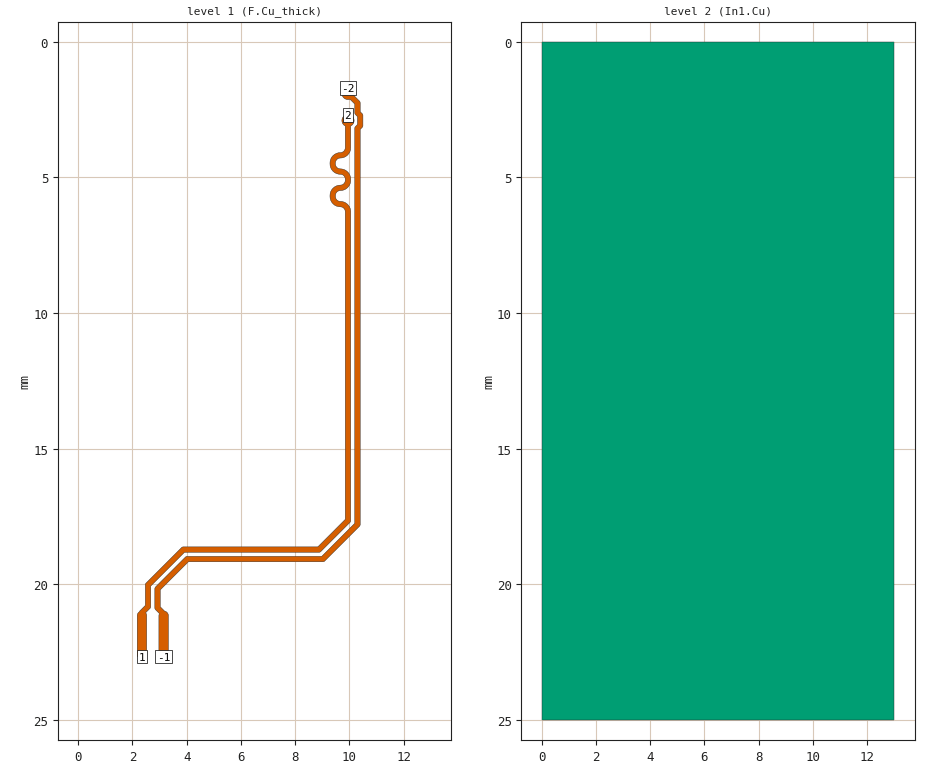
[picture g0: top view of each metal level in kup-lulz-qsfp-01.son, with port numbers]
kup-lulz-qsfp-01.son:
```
FTYP SONPROJ 19 ! Sonnet Project File
VER 18.56
HEADER
LIC antikernel2.1.52448
DAT 02/23/2024 02:04:42
BUILT_BY_CREATED dxf 18.56 02/22/2024 23:40:04
BUILT_BY_SAVED sonnet 18.56
MDATE 02/23/2024 02:04:42
HDATE 02/23/2024 02:04:42
ANN Created by dxfgeo, Sonnet Software Inc.
END HEADER
DIM
ANG DEG
CAP PF
CON /OH
FREQ GHZ
IND NH
LNG MM
RES OH
END DIM
CONTROL
VARSWP
OPTIONS  -dj
SPEED 1
CACHE_ABS 2
Q_ACC N
END CONTROL
GEO
TMET "Free Space" 0 FREESPACE 376.7303136 0 0 0
BMET "Free Space" 0 FREESPACE 376.7303136 0 0 0
MET "Copper_1oz+plated_thick_up" 1 TMM 58000000 0.5 0.0432 2
MET "Copper_1oz+plated_thin" 4 NOR 58000000 0.5 0.0432 
MET "Copper_0.5oz_thin" 2 NOR 58000000 0.5 0.0175 
MET "Copper_1oz+plated_thick_down" 3 TMM 58000000 0.5 0.0432 2 CDVY TDWN
BOX 6 13 25 1040 2000 20 0
      10 1 1 0 0 0 0 "Air"
      0.05 3.5 1 0.02 0 0 0 "Soldermask"
      0.2021 3.61 1 0.0092 0 0 0 "Isola_FR408HR"
      1.1938 3.61 1 0.0092 0 0 0 "Isola_FR408HR"
      0.2021 3.61 1 0.0092 0 0 0 "Isola_FR408HR"
      0.05 3.5 1 0.02 0 0 0 "Soldermask"
      10 1 1 0 0 0 0 "Air"
TECHLAY METAL F.Cu_thick L1D0 -1 -65534 CAD F.Cu drawing 
1 0 0 N 1844 1 1 100 100 0 0 0 Y
END
END
TECHLAY VIA Via1 L5D0 -7 -65534 CAD Via1 drawing 
VIA POLYGON
1 0 -1 N 2163 1 1 100 100 0 0 0 Y
TOLEVEL 4 RING NOCOVERS
END
END
TECHLAY METAL F.Cu_thin <UNSPECIFIED> -2 -65534 CAD F.Cu_thin drawing 
1 0 1 N 1848 1 1 100 100 0 0 0 Y
END
END
TECHLAY METAL In1.Cu L2D0 -3 -65534 CAD In1.Cu drawing 
2 0 2 N 1851 1 1 100 100 0 0 0 Y
END
END
TECHLAY METAL In2.Cu L3D0 -4 -65534 CAD In2.Cu drawing 
3 0 2 N 1854 1 1 100 100 0 0 0 Y
END
END
TECHLAY METAL B.Cu_thick L4D0 -5 -65534 CAD B.Cu drawing 
4 0 3 N 1857 1 1 100 100 0 0 0 Y
END
END
TECHLAY METAL B.Cu_thin <UNSPECIFIED> -6 -65534 CAD B.Cu_thin drawing 
4 0 1 N 1859 1 1 100 100 0 0 0 Y
END
END
LORGN 0 25 U 
POR1 CUP Auto
GNDREF AUTO
TERMW FEED
POLY 2090 1
157
-1 100 0 0 0 3.15 22.675 
CUPGRP "Auto" LOCAL
ID 2159
END
POR1 CUP Auto
GNDREF AUTO
TERMW FEED
POLY 2090 1
72
-2 100 0 0 0 9.95 1.7 
CUPGRP "Auto" LOCAL
ID 2160
END
POR1 CUP Auto
GNDREF AUTO
TERMW FEED
POLY 2091 1
545
1 100 0 0 0 2.35 22.675 
CUPGRP "Auto" LOCAL
ID 2161
END
POR1 CUP Auto
GNDREF AUTO
TERMW FEED
POLY 2091 1
293
2 100 0 0 0 9.95 2.7 
CUPGRP "Auto" LOCAL
ID 2162
END
NUM 3
1 160 0 N 2090 1 1 100 100 0 0 0 Y
TLAYNAM F.Cu_thick INH
3.322 22.6495
3.325 22.6155
3.325 21.1655
3.322 21.1315
3.312 21.0985
3.296 21.0685
3.274 21.0415
3.247 21.0195
3.217 21.0035
3.184 20.9935
3.025 20.8345
3.025 20.2135
4.064 19.1755
9.027 19.1755
9.037 19.1745
9.046 19.1725
9.056 19.1695
9.065 19.1665
9.073 19.1615
9.082 19.1555
9.089 19.1495
10.374 17.8655
10.38 17.8575
10.386 17.8485
10.391 17.8405
10.397 17.8225
10.399 17.8125
10.4 17.8025
10.4 3.2275
10.474 3.1535
10.48 3.1465
10.486 3.1375
10.491 3.1295
10.494 3.1205
10.497 3.1105
10.499 3.1015
10.5 3.0915
10.5 2.7085
10.499 2.6995
10.497 2.6895
10.494 2.6795
10.491 2.6705
10.486 2.6625
10.48 2.6545
10.474 2.6475
10.474 2.6465
10.467 2.6395
10.46 2.6335
10.4 2.5735
10.4 2.2455
10.399 2.2355
10.397 2.2265
10.394 2.2165
10.391 2.2075
10.386 2.1995
10.38 2.1905
10.374 2.1835
10.163 1.9725
10.168 1.9555
10.173 1.9335
10.175 1.9115
10.175 1.8895
10.173 1.8675
10.168 1.8455
10.162 1.8245
10.153 1.8045
10.143 1.7845
10.131 1.7665
10.117 1.7495
10.101 1.7335
10.084 1.7195
10.066 1.7075
10.051 1.7
9.849 1.7
9.834 1.7075
9.816 1.7195
9.799 1.7335
9.783 1.7495
9.769 1.7665
9.757 1.7845
9.747 1.8045
9.738 1.8245
9.732 1.8455
9.727 1.8675
9.725 1.8895
9.725 1.9115
9.727 1.9335
9.732 1.9555
9.738 1.9765
9.747 1.9965
9.757 2.0165
9.769 2.0345
9.783 2.0515
9.799 2.0675
9.816 2.0815
9.834 2.0935
9.854 2.1035
9.874 2.1125
9.895 2.1185
9.917 2.1235
9.939 2.1255
9.961 2.1255
9.983 2.1235
10.005 2.1185
10.022 2.1135
10.2 2.2915
10.2 2.6195
10.201 2.6295
10.203 2.6385
10.206 2.6485
10.209 2.6575
10.214 2.6655
10.22 2.6745
10.226 2.6815
10.3 2.7555
10.3 3.0455
10.226 3.1195
10.22 3.1265
10.214 3.1345
10.209 3.1435
10.206 3.1525
10.203 3.1625
10.201 3.1715
10.2 3.1815
10.2 17.7555
8.981 18.9755
4.008 18.9755
3.998 18.9775
3.989 18.9805
3.988 18.9815
3.983 18.9835
3.98 18.9845
3.979 18.9845
3.963 18.9945
3.955 19.0005
2.851 20.1055
2.845 20.1125
2.839 20.1215
2.834 20.1295
2.831 20.1385
2.828 20.1485
2.826 20.1575
2.825 20.1675
2.825 20.8805
2.826 20.8905
2.828 20.8995
2.831 20.9095
2.834 20.9185
2.839 20.9265
2.845 20.9355
2.851 20.9425
2.995 21.0865
2.988 21.0985
2.978 21.1315
2.975 21.1655
2.975 22.6155
2.978 22.6495
2.985727273 22.675
3.314272727 22.675
3.322 22.6495
END
1 548 0 N 2091 1 1 100 100 0 0 0 Y
TLAYNAM F.Cu_thick INH
2.522 22.6495
2.525 22.6155
2.525 21.1655
2.522 21.1315
2.512 21.0985
2.496 21.0685
2.486 21.0555
2.649 20.8925
2.655 20.8855
2.661 20.8765
2.666 20.8685
2.669 20.8595
2.672 20.8495
2.674 20.8405
2.675 20.8305
2.675 20.0695
3.92 18.8255
8.883 18.8255
8.893 18.8245
8.902 18.8225
8.912 18.8195
8.921 18.8165
8.929 18.8115
8.938 18.8055
8.945 18.7995
10.025 17.7205
10.031 17.7125
10.041 17.6965
10.041 17.6955
10.042 17.6925
10.044 17.6875
10.045 17.6865
10.048 17.6775
10.05 17.6675
10.05 6.2605
10.045 6.2015
10.044 6.1995
10.044 6.1945
10.043 6.1925
10.041 6.1825
10.04 6.1805
10.031 6.1495
10.029 6.1395
10.028 6.1375
10.028 6.1365
10.025 6.1285
10.021 6.1195
10.019 6.1165
10.006 6.0885
10.002 6.0795
10.001 6.0765
9.996 6.0685
9.99 6.0605
9.971 6.0335
9.97 6.0315
9.964 6.0235
9.962 6.0215
9.958 6.0165
9.957 6.0145
9.95 6.0075
9.942 6.0015
9.931 5.9905
9.925 5.9835
9.911 5.9695
9.909 5.9685
9.9 5.9625
9.872 5.9425
9.871 5.9415
9.864 5.9365
9.86 5.9345
9.855 5.9315
9.854 5.9305
9.845 5.9265
9.843 5.9265
9.802 5.9065
9.793 5.9035
9.785 5.9025
9.759 5.8955
9.752 5.8935
9.75 5.8925
9.74 5.8895
9.731 5.8875
9.683 5.8835
9.674 5.8825
9.672 5.8825
9.631 5.8785
9.599 5.8695
9.564 5.8495
9.541 5.8315
9.518 5.8035
9.499 5.7695
9.49 5.7375
9.486 5.6965
9.486 5.6685
9.49 5.6275
9.499 5.5975
9.519 5.5615
9.537 5.5385
9.565 5.5155
9.599 5.4965
9.636 5.4855
9.672 5.4825
9.674 5.4825
9.683 5.4815
9.718 5.4785
9.731 5.4775
9.733 5.4765
9.738 5.4765
9.74 5.4755
9.75 5.4735
9.752 5.4725
9.783 5.4635
9.793 5.4615
9.795 5.4605
9.796 5.4605
9.804 5.4575
9.813 5.4535
9.816 5.4515
9.844 5.4385
9.853 5.4345
9.856 5.4335
9.864 5.4285
9.872 5.4225
9.899 5.4035
9.901 5.4025
9.909 5.3965
9.911 5.3945
9.916 5.3905
9.918 5.3895
9.925 5.3825
9.928 5.3785
9.963 5.3435
9.964 5.3415
9.97 5.3325
9.988 5.3075
9.99 5.3055
9.996 5.2975
10.001 5.2885
10.003 5.2845
10.006 5.2775
10.021 5.2455
10.026 5.2355
10.028 5.2305
10.029 5.2275
10.044 5.1705
10.044 5.1655
10.045 5.1635
10.045 5.1605
10.046 5.1515
10.049 5.1155
10.049 5.1115
10.05 5.1055
10.05 5.0605
10.045 5.0015
10.044 4.9995
10.044 4.9945
10.043 4.9925
10.041 4.9825
10.04 4.9805
10.031 4.9495
10.029 4.9395
10.028 4.9375
10.028 4.9365
10.025 4.9285
10.021 4.9195
10.019 4.9165
10.006 4.8885
10.002 4.8795
10.001 4.8765
9.996 4.8685
9.99 4.8605
9.971 4.8335
9.97 4.8315
9.964 4.8235
9.962 4.8215
9.958 4.8165
9.957 4.8145
9.95 4.8075
9.942 4.8015
9.931 4.7905
9.925 4.7835
9.911 4.7695
9.909 4.7685
9.9 4.7625
9.872 4.7425
9.871 4.7415
9.864 4.7365
9.86 4.7345
9.855 4.7315
9.854 4.7305
9.845 4.7265
9.843 4.7265
9.802 4.7065
9.793 4.7035
9.785 4.7025
9.759 4.6955
9.752 4.6935
9.75 4.6925
9.74 4.6895
9.731 4.6875
9.683 4.6835
9.674 4.6825
9.672 4.6825
9.631 4.6785
9.599 4.6695
9.564 4.6495
9.541 4.6315
9.518 4.6035
9.499 4.5695
9.49 4.5375
9.486 4.4965
9.486 4.4685
9.49 4.4275
9.499 4.3975
9.519 4.3615
9.537 4.3385
9.565 4.3155
9.599 4.2965
9.636 4.2855
9.672 4.2825
9.674 4.2825
9.683 4.2815
9.718 4.2785
9.731 4.2775
9.733 4.2765
9.738 4.2765
9.74 4.2755
9.75 4.2735
9.752 4.2725
9.783 4.2635
9.793 4.2615
9.795 4.2605
9.796 4.2605
9.804 4.2575
9.813 4.2535
9.816 4.2515
9.844 4.2385
9.853 4.2345
9.856 4.2335
9.864 4.2285
9.872 4.2225
9.899 4.2035
9.901 4.2025
9.909 4.1965
9.911 4.1945
9.916 4.1905
9.918 4.1895
9.925 4.1825
9.928 4.1785
9.963 4.1435
9.964 4.1415
9.97 4.1325
9.988 4.1075
9.99 4.1055
9.996 4.0975
10.001 4.0885
10.003 4.0845
10.006 4.0775
10.021 4.0455
10.026 4.0355
10.028 4.0305
10.029 4.0275
10.044 3.9705
10.044 3.9655
10.045 3.9635
10.045 3.9605
10.046 3.9515
10.049 3.9155
10.049 3.9115
10.05 3.9055
10.05 3.1015
10.066 3.0935
10.084 3.0815
10.101 3.0675
10.117 3.0515
10.131 3.0345
10.143 3.0165
10.153 2.9965
10.162 2.9765
10.168 2.9555
10.173 2.9335
10.175 2.9115
10.175 2.8895
10.173 2.8675
10.168 2.8455
10.162 2.8245
10.153 2.8045
10.143 2.7845
10.131 2.7665
10.117 2.7495
10.101 2.7335
10.084 2.7195
10.066 2.7075
10.051 2.7
9.849 2.7
9.834 2.7075
9.816 2.7195
9.799 2.7335
9.783 2.7495
9.769 2.7665
9.757 2.7845
9.747 2.8045
9.738 2.8245
9.732 2.8455
9.727 2.8675
9.725 2.8895
9.725 2.9115
9.727 2.9335
9.732 2.9555
9.738 2.9765
9.747 2.9965
9.757 3.0165
9.769 3.0345
9.783 3.0515
9.799 3.0675
9.816 3.0815
9.834 3.0935
9.85 3.1015
9.85 3.8985
9.847 3.9325
9.839 3.9615
9.825 3.9925
9.806 4.0185
9.786 4.0385
9.759 4.0575
9.73 4.0715
9.696 4.0795
9.666 4.0825
9.663 4.0825
9.598 4.0885
9.589 4.0905
9.579 4.0935
9.572 4.0965
9.57 4.0975
9.536 4.1075
9.526 4.1105
9.517 4.1135
9.509 4.1185
9.471 4.1385
9.468 4.1395
9.46 4.1445
9.451 4.1505
9.444 4.1565
9.41 4.1845
9.408 4.1855
9.401 4.1915
9.394 4.1985
9.388 4.2055
9.388 4.2065
9.352 4.2485
9.347 4.2565
9.342 4.2655
9.341 4.2685
9.321 4.3055
9.32 4.3065
9.316 4.3135
9.313 4.3225
9.31 4.3325
9.3 4.3665
9.297 4.3755
9.294 4.3855
9.292 4.3945
9.291 4.4045
9.291 4.4055
9.287 4.4505
9.286 4.4595
9.286 4.5055
9.287 4.5155
9.291 4.5595
9.291 4.5605
9.292 4.5705
9.294 4.5795
9.297 4.5895
9.31 4.6325
9.313 4.6425
9.316 4.6515
9.321 4.6595
9.341 4.6975
9.342 4.7005
9.347 4.7085
9.353 4.7175
9.359 4.7245
9.387 4.7585
9.388 4.7605
9.394 4.7675
9.401 4.7745
9.408 4.7805
9.409 4.7805
9.451 4.8165
9.459 4.8215
9.468 4.8265
9.471 4.8275
9.509 4.8475
9.517 4.8525
9.538 4.8595
9.57 4.8685
9.578 4.8715
9.579 4.8715
9.589 4.8745
9.598 4.8765
9.608 4.8775
9.609 4.8775
9.654 4.8815
9.663 4.8825
9.666 4.8825
9.695 4.8845
9.733 4.8955
9.759 4.9065
9.786 4.9265
9.806 4.9465
9.825 4.9735
9.839 5.0025
9.847 5.0365
9.85 5.0605
9.85 5.0985
9.847 5.1325
9.839 5.1615
9.825 5.1925
9.806 5.2185
9.786 5.2385
9.759 5.2575
9.73 5.2715
9.696 5.2795
9.666 5.2825
9.663 5.2825
9.598 5.2885
9.589 5.2905
9.579 5.2935
9.572 5.2965
9.57 5.2975
9.536 5.3075
9.526 5.3105
9.517 5.3135
9.509 5.3185
9.471 5.3385
9.468 5.3395
9.46 5.3445
9.451 5.3505
9.444 5.3565
9.41 5.3845
9.408 5.3855
9.401 5.3915
9.394 5.3985
9.388 5.4055
9.388 5.4065
9.352 5.4485
9.347 5.4565
9.342 5.4655
9.341 5.4685
9.321 5.5055
9.32 5.5065
9.316 5.5135
9.313 5.5225
9.31 5.5325
9.3 5.5665
9.297 5.5755
9.294 5.5855
9.292 5.5945
9.291 5.6045
9.291 5.6055
9.287 5.6505
9.286 5.6595
9.286 5.7055
9.287 5.7155
9.291 5.7595
9.291 5.7605
9.292 5.7705
9.294 5.7795
9.297 5.7895
9.31 5.8325
9.313 5.8425
9.316 5.8515
9.321 5.8595
9.341 5.8975
9.342 5.9005
9.347 5.9085
9.353 5.9175
9.359 5.9245
9.387 5.9585
9.388 5.9605
9.394 5.9675
9.401 5.9745
9.408 5.9805
9.409 5.9805
9.451 6.0165
9.459 6.0215
9.468 6.0265
9.471 6.0275
9.509 6.0475
9.517 6.0525
9.538 6.0595
9.57 6.0685
9.578 6.0715
9.579 6.0715
9.589 6.0745
9.598 6.0765
9.608 6.0775
9.609 6.0775
9.654 6.0815
9.663 6.0825
9.666 6.0825
9.695 6.0845
9.733 6.0955
9.759 6.1065
9.786 6.1265
9.806 6.1465
9.825 6.1735
9.839 6.2025
9.847 6.2365
9.85 6.2605
9.85 17.6115
8.837 18.6255
3.873 18.6255
3.863 18.6265
3.853 18.6285
3.835 18.6345
3.827 18.6395
3.818 18.6455
3.81 18.6515
3.804 18.6585
2.515 19.9475
2.508 19.9535
2.501 19.9605
2.501 19.9615
2.495 19.9685
2.489 19.9765
2.484 19.9855
2.478 20.0035
2.476 20.0135
2.475 20.0235
2.475 20.7845
2.276 20.9835
2.27 20.9905
2.264 20.9995
2.259 21.0075
2.256 21.0165
2.255 21.0185
2.253 21.0195
2.226 21.0415
2.204 21.0685
2.188 21.0985
2.178 21.1315
2.175 21.1655
2.175 22.6155
2.178 22.6495
2.185727273 22.675
2.514272727 22.675
2.522 22.6495
END
2 5 2 N 2080 1 1 100 100 0 0 0 Y
TLAYNAM In1.Cu INH
0 0
13 0
13 25
0 25
0 0
END
END GEO
OPT
MAX 3.0559e7
END OPT
VARSWP
ENABLED Y
FREQ Y AY ABS_ENTRY 0.1 40.0 -1 300 
END
END VARSWP
3DOPTIONS
GLOBAL 2
ALL 7 1
END 3DOPTIONS
```
